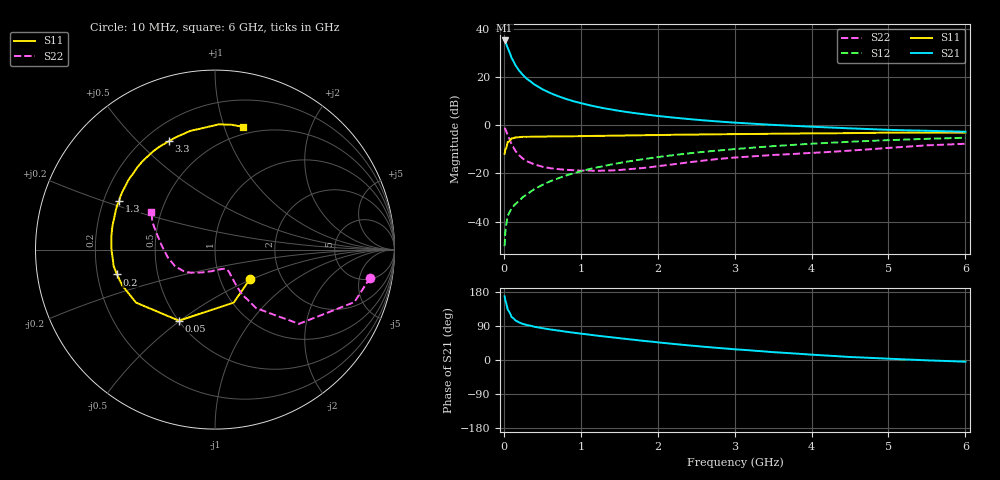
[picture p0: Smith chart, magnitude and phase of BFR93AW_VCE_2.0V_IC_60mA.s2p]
! Infineon Technologies  Discrete & RF Semiconductors
! BFR93AW
! VCE =  2.0 V,  IC =  60 mA
! Common Emitter S-Parameters:  Jan 2017
# GHz  S  MA  R  50
!  f  S11  S21  S12  S22
! GHz  MAG  ANG  MAG  ANG  MAG  ANG  MAG  ANG
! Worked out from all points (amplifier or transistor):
!   77 points, 10 MHz to 6 GHz, reference 50 ohm
!   highest |S21| = 35.1 dB at 10 MHz (marker M1)
!   |S21| within 3 dB of that: start of sweep to 49.23 MHz
!   unconditionally stable (mu >= 1): 257.2 MHz to 2.784 GHz
!   at 130 MHz: K = 0.77, MSG = 29.8 dB, |S12| = -33.4 dB
!   at 2.2 GHz: K = 1.04, MAG = 6.6 dB, |S12| = -12.5 dB
!   at 6 GHz: K = 0.97, MSG = 1.2 dB, |S12| = -5.2 dB
!   S11 on the Smith chart (normalised r, x): 10 MHz: 1.39, -0.49; 50 MHz: 0.50, -0.50; 200 MHz: 0.28, -0.11; 1.3 GHz: 0.26, +0.22; 3.3 GHz: 0.29, +0.62; 6 GHz: 0.43, +1.16
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0.01  0.2548 -40.1  56.77 168.0  0.0031 69.2  0.8788 -10.2
0.02  0.3131 -70.5  54.26 157.0  0.0063 74.5  0.8303 -20.6
0.05  0.4441 -116.9  39.91 132.7  0.013 61.2  0.6244 -41.5
0.1  0.5301 -146.2  24.85 113.6  0.0186 56.9  0.3992 -54.9
0.15  0.554 -158.8  17.49 104.5  0.0231 59.0  0.2922 -58.8
0.2  0.5635 -165.8  13.38 99.1  0.027 62.9  0.2355 -59.4
0.25  0.5722 -170.8  10.84 95.1  0.0326 64.6  0.201 -58.9
0.3  0.5718 -174.2  9.074 92.3  0.0366 67.5  0.1782 -58.6
0.4  0.5765 -179.7  6.893 87.6  0.0472 70.4  0.1524 -57.9
0.5  0.5789 175.9  5.542 84.0  0.0575 70.9  0.1377 -58.2
0.6  0.582 172.4  4.652 80.7  0.0683 71.6  0.1282 -59.7
0.7  0.5844 169.2  4.005 77.9  0.0784 72.7  0.1226 -61.5
0.9  0.588 163.4  3.143 72.2  0.0998 72.1  0.1166 -67.4
1.1  0.5947 158.2  2.612 67.2  0.1213 71.2  0.1142 -75.2
1.3  0.5987 153.1  2.239 62.2  0.1424 69.8  0.1142 -83.7
1.6  0.6099 146.4  1.867 55.3  0.1746 67.2  0.1211 -97.7
2.1  0.6254 135.6  1.49 44.6  0.2278 62.2  0.1469 -120.2
3.1  0.6523 116.8  1.102 26.9  0.328 51.1  0.2177 -148.4
3.3  0.656 113.2  1.055 23.9  0.347 48.8  0.2286 -153.1
4.1  0.6759 100.3  0.912 12.9  0.4194 39.4  0.2707 -173.3
5.1  0.6983 87.1  0.791 2.6  0.494 27.7  0.3452 162.8
6  0.7015 77.2  0.729 -4.5  0.547 17.6  0.4104 149.7
